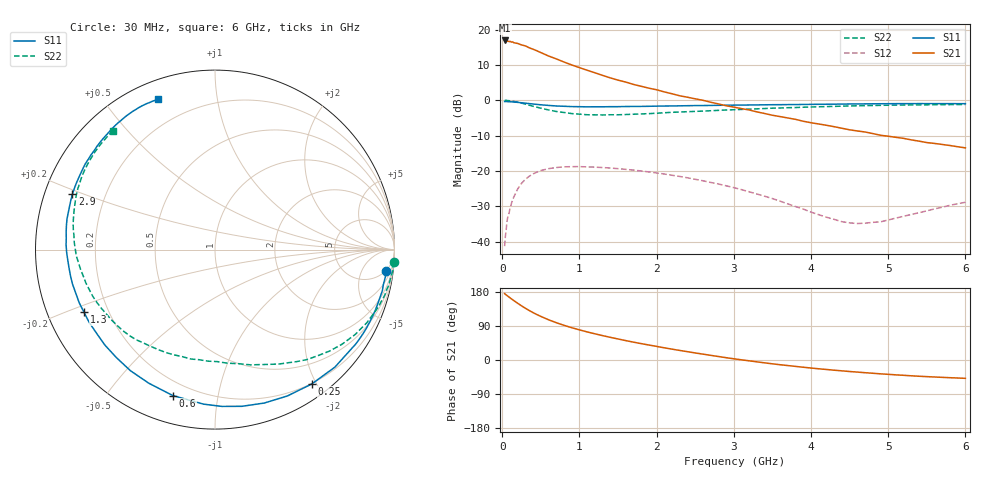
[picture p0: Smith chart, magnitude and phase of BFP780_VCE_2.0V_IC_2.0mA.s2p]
! Infineon Technologies  Discrete & RF Semiconductors
! BFP780
! VCE =  2.0 V,  IC =  2.0 mA
! Common Emitter S-Parameters:  Jul 2015
# GHz  S  MA  R  50
!  f  S11  S21  S12  S22
! GHz  MAG  ANG  MAG  ANG  MAG  ANG  MAG  ANG
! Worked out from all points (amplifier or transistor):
!   75 points, 30 MHz to 6 GHz, reference 50 ohm
!   highest |S21| = 16.9 dB at 30 MHz (marker M1)
!   |S21| within 3 dB of that: start of sweep to 455.4 MHz
!   unconditionally stable (mu >= 1): 3.047 GHz to end of sweep
!   at 150 MHz: K = 0.02, MSG = 21.8 dB, |S12| = -27.4 dB
!   at 2.3 GHz: K = 0.56, MSG = 11.4 dB, |S12| = -21.6 dB
!   at 6 GHz: K = 2.98, MAG = 0.1 dB, |S12| = -28.9 dB
!   S11 on the Smith chart (normalised r, x): 30 MHz: 5, -15; 250 MHz: 0.19, -1.94; 600 MHz: 0.13, -0.74; 1.3 GHz: 0.11, -0.22; 2.9 GHz: 0.08, +0.19; 6 GHz: 0.08, +0.69
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0.03  0.9609 -7.1  7.038 175.2  0.0086 84.8  0.9986 -4.0
0.04  0.9611 -9.3  6.837 173.5  0.0119 85.5  0.9957 -5.4
0.06  0.9601 -13.8  6.827 170.4  0.0191 81.0  0.9938 -8.0
0.1  0.9536 -23.0  6.828 164.1  0.0298 76.1  0.9819 -13.2
0.14  0.9463 -31.8  6.651 158.1  0.0403 69.4  0.9671 -18.5
0.2  0.9354 -44.4  6.382 149.6  0.0556 60.8  0.9391 -25.7
0.25  0.9227 -54.2  6.081 142.8  0.0669 54.6  0.913 -31.2
0.3  0.9097 -63.7  5.894 136.4  0.0762 48.7  0.8824 -36.7
0.4  0.8858 -80.3  5.283 124.9  0.0909 37.7  0.8232 -45.9
0.5  0.8634 -94.2  4.738 115.0  0.1013 28.6  0.773 -53.8
0.6  0.8465 -106.1  4.237 106.1  0.1077 20.5  0.7298 -60.9
0.8  0.823 -124.9  3.482 91.5  0.1143 7.5  0.6718 -72.9
1.1  0.808 -144.8  2.663 74.1  0.114 -7.6  0.6241 -88.9
1.3  0.8091 -154.5  2.252 64.3  0.1116 -15.6  0.6198 -98.1
1.7  0.8183 -169.6  1.678 47.1  0.1027 -29.2  0.6352 -115.4
2.1  0.8301 178.2  1.314 32.1  0.0904 -41.2  0.6668 -131.1
2.9  0.8522 158.8  0.837 6.1  0.0616 -58.8  0.729 -159.1
3.1  0.8567 154.4  0.762 0.4  0.0543 -61.6  0.7433 -165.6
4.1  0.878 135.4  0.462 -23.2  0.024 -55.1  0.8091 166.9
4.6  0.8891 127.5  0.368 -31.9  0.018 -26.6  0.8364 155.9
5.1  0.8964 120.8  0.299 -39.2  0.0215 1.3  0.8545 146.1
6  0.8964 110.8  0.212 -48.4  0.036 14.5  0.8734 130.6
